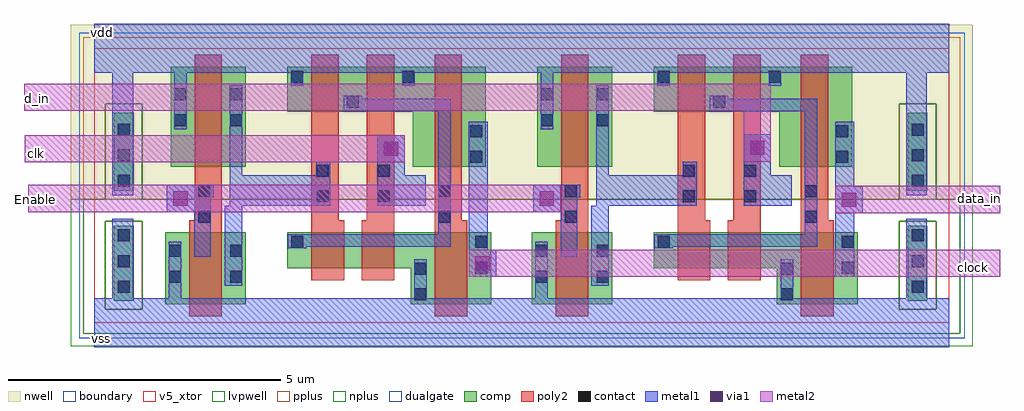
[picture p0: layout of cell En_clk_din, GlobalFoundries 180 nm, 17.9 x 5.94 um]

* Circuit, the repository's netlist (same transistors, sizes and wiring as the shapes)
* NGSPICE file created from En_clk_din.ext - technology: gf180mcuD

.subckt gf180mcu_fd_sc_mcu9t5v0__and2_1 A1 A2 VDD VSS Z VNW VPW
X0 VDD A2 a_36_201# VNW pfet_05v0 ad=0.5054p pd=2.57u as=0.2132p ps=1.34u w=0.82u l=0.5u
X1 a_244_201# A1 a_36_201# VPW nfet_05v0 ad=0.1056p pd=0.98u as=0.2904p ps=2.2u w=0.66u l=0.6u
X2 Z a_36_201# VSS VPW nfet_05v0 ad=0.5808p pd=3.52u as=0.3894p ps=2.06u w=1.32u l=0.6u
X3 Z a_36_201# VDD VNW pfet_05v0 ad=0.8052p pd=4.54u as=0.5054p ps=2.57u w=1.83u l=0.5u
X4 VSS A2 a_244_201# VPW nfet_05v0 ad=0.3894p pd=2.06u as=0.1056p ps=0.98u w=0.66u l=0.6u
X5 a_36_201# A1 VDD VNW pfet_05v0 ad=0.2132p pd=1.34u as=0.3608p ps=2.52u w=0.82u l=0.5u
.ends

.subckt gf180mcu_fd_sc_mcu9t5v0__inv_1 I VDD VSS ZN VNW VPW
X0 ZN I VDD VNW pfet_05v0 ad=0.8052p pd=4.54u as=0.8052p ps=4.54u w=1.83u l=0.5u
X1 ZN I VSS VPW nfet_05v0 ad=0.5808p pd=3.52u as=0.5808p ps=3.52u w=1.32u l=0.6u
.ends

.subckt En_clk_din vdd vss Enable clk d_in data_in clock
Xgf180mcu_fd_sc_mcu9t5v0__and2_1_1 gf180mcu_fd_sc_mcu9t5v0__inv_1_1/ZN clk vdd vss
+ clock vdd vss gf180mcu_fd_sc_mcu9t5v0__and2_1
Xgf180mcu_fd_sc_mcu9t5v0__inv_1_0 Enable vdd vss gf180mcu_fd_sc_mcu9t5v0__inv_1_0/ZN
+ vdd vss gf180mcu_fd_sc_mcu9t5v0__inv_1
Xgf180mcu_fd_sc_mcu9t5v0__inv_1_1 Enable vdd vss gf180mcu_fd_sc_mcu9t5v0__inv_1_1/ZN
+ vdd vss gf180mcu_fd_sc_mcu9t5v0__inv_1
Xgf180mcu_fd_sc_mcu9t5v0__and2_1_0 gf180mcu_fd_sc_mcu9t5v0__inv_1_0/ZN d_in vdd vss
+ data_in vdd vss gf180mcu_fd_sc_mcu9t5v0__and2_1
.ends

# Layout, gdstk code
import gdstk
lib = gdstk.Library(unit=1e-6, precision=1e-09)
def R(c, l, rs):  # rectangles x0, y0, x1, y1
    for r in rs: c.add(gdstk.rectangle(r[:2], r[2:], *l))
def A(c, l, x, y, w, h, nx, ny, dx, dy):  # array of equal rectangles
    R(c, l, [(x+i*dx, y+j*dy, x+i*dx+w, y+j*dy+h) for i in range(nx) for j in range(ny)])
def P(c, l, *ps):  # polygons
    for p in ps: c.add(gdstk.Polygon(p, *l))
boundary = (0, 0)
nwell = (21, 0)
comp = (22, 0)
poly2 = (30, 0)
pplus = (31, 0)
nplus = (32, 0)
contact = (33, 0)
metal1 = (34, 0)
via1 = (35, 0)
metal2 = (36, 0)
dualgate = (55, 0)
v5_xtor = (112, 1)
lvpwell = (204, 0)

gf180mcu_fd_sc_mcu9t5v0_ = lib.new_cell('gf180mcu_fd_sc_mcu9t5v0__and2_1')
R(gf180mcu_fd_sc_mcu9t5v0_, boundary, [(0,0,4.48,5.04)])
R(gf180mcu_fd_sc_mcu9t5v0_, nwell, [(-0.43,2.265,4.91,5.47)])
P(gf180mcu_fd_sc_mcu9t5v0_, comp, [(2.48,2.865),(2.48,3.875),(0.18,3.875),(0.18,4.695),(3.82,4.695),(3.82,2.865)],
  [(2.44,0.345),(2.44,1.005),(0.18,1.005),(0.18,1.665),(3.92,1.665),(3.92,0.345)])
P(gf180mcu_fd_sc_mcu9t5v0_, poly2, [(0.62,0.785),(0.62,4.915),(1.12,4.915),(1.12,1.885),(1.22,1.885),(1.22,0.785)],
  [(1.54,0.785),(1.54,1.885),(1.64,1.885),(1.64,4.915),(2.14,4.915),(2.14,0.785)],
  [(2.88,0.125),(2.88,4.915),(3.38,4.915),(3.38,1.885),(3.48,1.885),(3.48,0.125)])
R(gf180mcu_fd_sc_mcu9t5v0_, pplus, [(-0.2,2.265,4.68,5.24)])
R(gf180mcu_fd_sc_mcu9t5v0_, nplus, [(-0.2,-0.2,4.68,2.265)])
R(gf180mcu_fd_sc_mcu9t5v0_, contact, [(2.51,0.415,2.73,0.635), (2.51,0.885,2.73,1.105), (3.63,0.905,3.85,1.125), (0.25,1.375,0.47,1.595), (3.63,1.375,3.85,1.595), (2.95,1.835,3.17,2.055), (0.715,2.21,0.935,2.43), (1.835,2.21,2.055,2.43), (2.95,2.305,3.17,2.525), (0.715,2.68,0.935,2.9), (1.835,2.68,2.055,2.9), (3.53,2.935,3.75,3.155), (3.53,3.405,3.75,3.625), (1.27,3.945,1.49,4.165), (0.25,4.405,0.47,4.625), (2.29,4.405,2.51,4.625)])
R(gf180mcu_fd_sc_mcu9t5v0_, metal1, [(3.51,0.845,3.855,3.685)])
P(gf180mcu_fd_sc_mcu9t5v0_, metal1, [(0.115,2.15),(0.115,2.71),(0.71,2.71),(0.71,2.96),(0.97,2.96),(0.97,2.15)],
  [(1.83,2.15),(1.83,2.96),(2.06,2.96),(2.06,2.71),(2.715,2.71),(2.715,2.15)],
  [(0.19,1.37),(0.19,1.625),(2.945,1.625),(2.945,3.885),(1.21,3.885),(1.21,4.17),(1.55,4.17),(1.55,4.115),(3.175,4.115),(3.175,1.395),(0.53,1.395),(0.53,1.37)],
  [(0,-0.45),(0,0.45),(2.505,0.45),(2.505,1.165),(2.735,1.165),(2.735,0.45),(4.48,0.45),(4.48,-0.45)],
  [(0.245,4.345),(0.245,4.59),(0,4.59),(0,5.49),(4.48,5.49),(4.48,4.59),(2.515,4.59),(2.515,4.345),(2.285,4.345),(2.285,4.59),(0.475,4.59),(0.475,4.345)])
R(gf180mcu_fd_sc_mcu9t5v0_, dualgate, [(-0.28,-0.28,4.76,5.32)])
R(gf180mcu_fd_sc_mcu9t5v0_, v5_xtor, [(0,0,4.48,5.04)])
R(gf180mcu_fd_sc_mcu9t5v0_, lvpwell, [(-0.43,-0.43,4.91,2.265)])
gf180mcu_fd_sc_mcu9t5v0_.add(gdstk.Label('A1', (0.84,2.52), layer=34, texttype=10))
gf180mcu_fd_sc_mcu9t5v0_.add(gdstk.Label('A2', (1.96,2.52), layer=34, texttype=10))
gf180mcu_fd_sc_mcu9t5v0_.add(gdstk.Label('VDD', (0.36,4.59), layer=34, texttype=10))
gf180mcu_fd_sc_mcu9t5v0_.add(gdstk.Label('VSS', (2.62,0.45), layer=34, texttype=10))
gf180mcu_fd_sc_mcu9t5v0_.add(gdstk.Label('Z', (3.64,2.52), layer=34, texttype=10))
gf180mcu_fd_sc_mcu9t5v0_.add(gdstk.Label('& Vendor GLOBALFOUNDRIES', (0,2), layer=63, texttype=63))
gf180mcu_fd_sc_mcu9t5v0_.add(gdstk.Label('& Product GF018hv5v_green_sc9', (0,1.5), layer=63, texttype=63))
gf180mcu_fd_sc_mcu9t5v0_.add(gdstk.Label('& Version 2015q2v2', (0,1), layer=63, texttype=63))
gf180mcu_fd_sc_mcu9t5v0_.add(gdstk.Label('& Metric 1.00', (0,0.5), layer=63, texttype=63))
gf180mcu_fd_sc_mcu9t5v0_.add(gdstk.Label('VNW', (0.345,3.92), layer=21, texttype=10))
gf180mcu_fd_sc_mcu9t5v0_.add(gdstk.Label('VPW', (0.34,-0.085), layer=204, texttype=10))

c_gf180mcu_fd_sc_mcu9t5v0_ = lib.new_cell('gf180mcu_fd_sc_mcu9t5v0__filltie')
R(c_gf180mcu_fd_sc_mcu9t5v0_, boundary, [(0,0,1.12,5.04)])
R(c_gf180mcu_fd_sc_mcu9t5v0_, nwell, [(-0.43,2.265,1.55,5.47)])
R(c_gf180mcu_fd_sc_mcu9t5v0_, comp, [(0.36,0.41,0.72,1.785), (0.36,2.425,0.72,3.855)])
R(c_gf180mcu_fd_sc_mcu9t5v0_, pplus, [(0.2,0.25,0.88,1.865)])
P(c_gf180mcu_fd_sc_mcu9t5v0_, pplus, [(-0.2,2.265),(-0.2,5.24),(1.32,5.24),(1.32,2.265),(0.88,2.265),(0.88,4.015),(0.2,4.015),(0.2,2.265)])
P(c_gf180mcu_fd_sc_mcu9t5v0_, nplus, [(-0.2,-0.2),(-0.2,2.265),(0.2,2.265),(0.2,4.015),(0.88,4.015),(0.88,1.865),(0.2,1.865),(0.2,0.25),(0.88,0.25),(0.88,4.015),(0.88,2.265),(1.32,2.265),(1.32,-0.2)])
A(c_gf180mcu_fd_sc_mcu9t5v0_, contact, 0.43, 0.555, 0.22, 0.22, 1, 3, 0, 0.47)
A(c_gf180mcu_fd_sc_mcu9t5v0_, contact, 0.43, 2.495, 0.22, 0.22, 1, 3, 0, 0.47)
P(c_gf180mcu_fd_sc_mcu9t5v0_, metal1, [(0,-0.45),(0,0.45),(0.33,0.45),(0.33,1.91),(0.71,1.91),(0.71,0.45),(1.12,0.45),(1.12,-0.45)],
  [(0.33,2.34),(0.33,4.59),(0,4.59),(0,5.49),(1.12,5.49),(1.12,4.59),(0.71,4.59),(0.71,2.34)])
R(c_gf180mcu_fd_sc_mcu9t5v0_, dualgate, [(-0.28,-0.28,1.4,5.32)])
R(c_gf180mcu_fd_sc_mcu9t5v0_, v5_xtor, [(0,0,1.12,5.04)])
R(c_gf180mcu_fd_sc_mcu9t5v0_, lvpwell, [(-0.43,-0.43,1.55,2.265)])
c_gf180mcu_fd_sc_mcu9t5v0_.add(gdstk.Label('VSS', (0.56,-0.45), layer=34, texttype=10))
c_gf180mcu_fd_sc_mcu9t5v0_.add(gdstk.Label('VDD', (0.56,5.49), layer=34, texttype=10))
c_gf180mcu_fd_sc_mcu9t5v0_.add(gdstk.Label('& Vendor GLOBALFOUNDRIES', (0,2), layer=63, texttype=63))
c_gf180mcu_fd_sc_mcu9t5v0_.add(gdstk.Label('& Product GF018hv5v_green_sc9', (0,1.5), layer=63, texttype=63))
c_gf180mcu_fd_sc_mcu9t5v0_.add(gdstk.Label('& Version 2015q2v2', (0,1), layer=63, texttype=63))
c_gf180mcu_fd_sc_mcu9t5v0_.add(gdstk.Label('& Metric 1.00', (0,0.5), layer=63, texttype=63))

c_gf180mcu_fd_sc_mcu9t5v0__ = lib.new_cell('gf180mcu_fd_sc_mcu9t5v0__inv_1')
R(c_gf180mcu_fd_sc_mcu9t5v0__, boundary, [(0,0,2.24,5.04)])
R(c_gf180mcu_fd_sc_mcu9t5v0__, nwell, [(-0.43,2.265,2.67,5.47)])
R(c_gf180mcu_fd_sc_mcu9t5v0__, comp, [(0.18,0.345,1.66,1.665), (0.28,2.865,1.66,4.695)])
P(c_gf180mcu_fd_sc_mcu9t5v0__, poly2, [(0.62,0.125),(0.62,1.885),(0.72,1.885),(0.72,4.915),(1.22,4.915),(1.22,0.125)])
R(c_gf180mcu_fd_sc_mcu9t5v0__, pplus, [(-0.2,2.265,2.44,5.24)])
R(c_gf180mcu_fd_sc_mcu9t5v0__, nplus, [(-0.2,-0.2,2.44,2.265)])
R(c_gf180mcu_fd_sc_mcu9t5v0__, contact, [(0.25,0.74,0.47,0.96), (1.37,0.74,1.59,0.96), (0.25,1.21,0.47,1.43), (1.37,1.21,1.59,1.43), (0.79,1.835,1.01,2.055), (0.79,2.305,1.01,2.525), (0.35,3.61,0.57,3.83), (1.37,3.61,1.59,3.83), (0.35,4.08,0.57,4.3), (1.37,4.08,1.59,4.3)])
P(c_gf180mcu_fd_sc_mcu9t5v0__, metal1, [(0.71,1.21),(0.71,2.53),(1.07,2.53),(1.07,2.3),(1.015,2.3),(1.015,1.21)],
  [(1.27,0.68),(1.27,2.15),(1.365,2.15),(1.365,4.36),(1.595,4.36),(1.595,0.68)],
  [(0,-0.45),(0,0.45),(0.245,0.45),(0.245,1.49),(0.475,1.49),(0.475,0.45),(2.24,0.45),(2.24,-0.45)],
  [(0.345,3.55),(0.345,4.59),(0,4.59),(0,5.49),(2.24,5.49),(2.24,4.59),(0.575,4.59),(0.575,3.55)])
R(c_gf180mcu_fd_sc_mcu9t5v0__, dualgate, [(-0.28,-0.28,2.52,5.32)])
R(c_gf180mcu_fd_sc_mcu9t5v0__, v5_xtor, [(0,0,2.24,5.04)])
R(c_gf180mcu_fd_sc_mcu9t5v0__, lvpwell, [(-0.43,-0.43,2.67,2.265)])
c_gf180mcu_fd_sc_mcu9t5v0__.add(gdstk.Label('I', (0.84,1.96), layer=34, texttype=10))
c_gf180mcu_fd_sc_mcu9t5v0__.add(gdstk.Label('VDD', (1.12,5.49), layer=34, texttype=10))
c_gf180mcu_fd_sc_mcu9t5v0__.add(gdstk.Label('VSS', (1.12,-0.45), layer=34, texttype=10))
c_gf180mcu_fd_sc_mcu9t5v0__.add(gdstk.Label('ZN', (1.4,1.96), layer=34, texttype=10))
c_gf180mcu_fd_sc_mcu9t5v0__.add(gdstk.Label('& Vendor GLOBALFOUNDRIES', (0,2), layer=63, texttype=63))
c_gf180mcu_fd_sc_mcu9t5v0__.add(gdstk.Label('& Product GF018hv5v_green_sc9', (0,1.5), layer=63, texttype=63))
c_gf180mcu_fd_sc_mcu9t5v0__.add(gdstk.Label('& Version 2015q2v2', (0,1), layer=63, texttype=63))
c_gf180mcu_fd_sc_mcu9t5v0__.add(gdstk.Label('& Metric 1.00', (0,0.5), layer=63, texttype=63))
c_gf180mcu_fd_sc_mcu9t5v0__.add(gdstk.Label('VNW', (0.345,3.92), layer=21, texttype=10))
c_gf180mcu_fd_sc_mcu9t5v0__.add(gdstk.Label('VPW', (0.34,-0.085), layer=204, texttype=10))

via_dev = lib.new_cell('via_dev')

via_dev_1 = lib.new_cell('via_dev$1')
R(via_dev_1, metal1, [(0,0,0.5,0.5)])
R(via_dev_1, via1, [(0.12,0.12,0.38,0.38)])
R(via_dev_1, metal2, [(0,0,0.5,0.5)])

en_clk_din = lib.new_cell('En_clk_din')
R(en_clk_din, metal1, [(-3.265,0.8,-2.335,1.36), (3.515,0.8,4.385,1.36), (-0.62,1.305,-0.12,2.095), (6.1,1.32,6.6,2.11)])
R(en_clk_din, metal2, [(1.06,-0.505,10.8,-0.005), (7.78,0.66,10.8,1.165), (-7.025,0.68,2.74,1.18), (-7.09,1.595,-0.12,2.095)])
P(en_clk_din, metal2, [(6.1,2.11),(6.1,2.54),(-7.1,2.54),(-7.1,3.04),(6.6,3.04),(6.6,2.11)])
en_clk_din.add(gdstk.Reference(gf180mcu_fd_sc_mcu9t5v0_, (-2.45,-1.35)))
en_clk_din.add(gdstk.Reference(gf180mcu_fd_sc_mcu9t5v0_, (4.27,-1.35)))
en_clk_din.add(gdstk.Reference(c_gf180mcu_fd_sc_mcu9t5v0_, (-5.81,-1.35)))
en_clk_din.add(gdstk.Reference(c_gf180mcu_fd_sc_mcu9t5v0_, (8.75,-1.35)))
en_clk_din.add(gdstk.Reference(c_gf180mcu_fd_sc_mcu9t5v0__, (-4.69,-1.35)))
en_clk_din.add(gdstk.Reference(c_gf180mcu_fd_sc_mcu9t5v0__, (2.03,-1.35)))
en_clk_din.add(gdstk.Reference(via_dev, (-7.71,1.85)))
en_clk_din.add(gdstk.Reference(via_dev_1, (-0.62,1.595)))
en_clk_din.add(gdstk.Reference(via_dev_1, (-4.48,0.68)))
en_clk_din.add(gdstk.Reference(via_dev_1, (7.78,0.66)))
en_clk_din.add(gdstk.Reference(via_dev_1, (2.24,0.68)))
en_clk_din.add(gdstk.Reference(via_dev_1, (6.1,1.61)))
en_clk_din.add(gdstk.Reference(via_dev_1, (1.06,-0.505)))
en_clk_din.add(gdstk.Label('vdd', (-5.655,3.97), layer=34, texttype=10))
en_clk_din.add(gdstk.Label('vss', (-5.67,-1.63), layer=34, texttype=10))
en_clk_din.add(gdstk.Label('Enable', (-6.885,0.91), layer=36, texttype=10))
en_clk_din.add(gdstk.Label('clk', (-6.875,1.765), layer=36, texttype=10))
en_clk_din.add(gdstk.Label('d_in', (-6.86,2.77), layer=36, texttype=10))
en_clk_din.add(gdstk.Label('data_in', (10.43,0.925), layer=36, texttype=10))
en_clk_din.add(gdstk.Label('clock', (10.31,-0.325), layer=36, texttype=10))

lib.write_gds('En_clk_din.gds')
